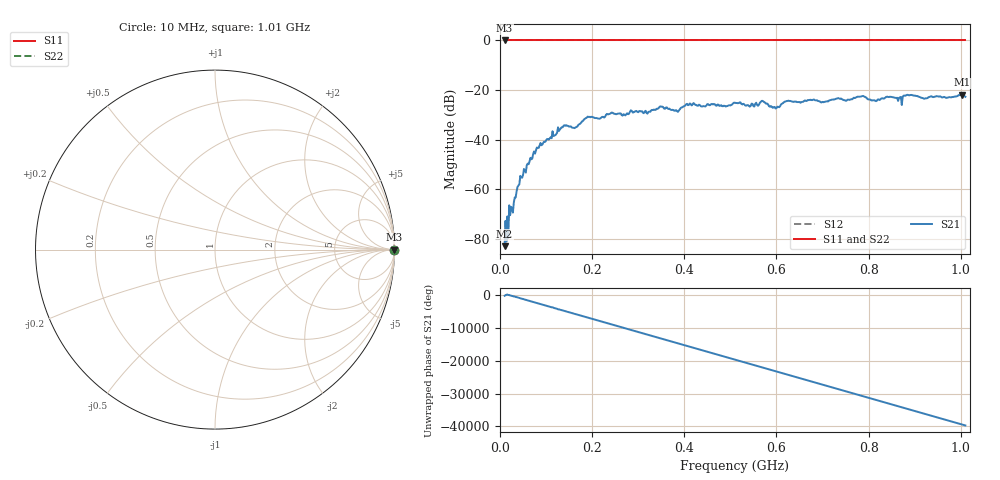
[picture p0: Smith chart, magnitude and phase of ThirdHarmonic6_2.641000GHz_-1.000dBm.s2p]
! 8/17/2025 5:58:09 AM
! C:\ANRITSUVNA\TEMP\TEMP.S2P
! CHANNEL.1
! TR.MEASUREMENT
! RAW.DATA
! RF.CORRECTION.OFF
! AVERAGING.OFF
! IF.BANDWIDTH: 5KHZ
! SWEEPTYPE:  FREQ.SWEEP(Linear)
! Reference Plane Port Info
! PORT:  PORT1  PORT2
! DISTANCE:  0  m  0  m
! TIME:  0  s  0  s
! PHASE.OFFSET:  0  deg.  0  deg.
! LOSS:  0  dB  0  dB
! REF.LOSS:  0  dB  0  dB
! REF.FREQ:  0  Hz  0  Hz
! Power Info
! POWER:  -20  dBm  -20  dBm
! EFF.POWER:  -20  dBm  -20  dBm
! SOURCE.ATTEN:  0  dB  0  dB
! TEST.ATTEN:  0  dB  0  dB
# GHZ S RI R 50.0
! FREQ.GHZ  S11RE  S11IM  S21RE  S21IM  S12RE  S12IM  S22RE  S22IM
!; PortSelection: Port_12
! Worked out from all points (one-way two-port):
!   501 points, 10 MHz to 1.01 GHz, reference 50 ohm
!   highest |S21| = -21.83 dB at 1.002 GHz (marker M1); lowest = -82.8 dB at 10 MHz (marker M2)
!   lowest |S11| = 0.0 dB at 10 MHz (marker M3)
!   |S11| at or under -10 dB: nowhere
!   |S22| runs from 0.0 to 0.0 dB; largest |S21 - S12| = 1.1
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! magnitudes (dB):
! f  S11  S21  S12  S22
! 10 MHz  0.0  -82.8  0.0  0.0
! 42 MHz  0.0  -57.9  0.0  0.0
! 76 MHz  0.0  -45.6  0.0  0.0
! 136 MHz  0.0  -34.9  0.0  0.0
! 162 MHz  0.0  -35.3  0.0  0.0
! 178 MHz  0.0  -32.6  0.0  0.0
! 194 MHz  0.0  -30.8  0.0  0.0
! 322 MHz  0.0  -28.8  0.0  0.0
! 344 MHz  0.0  -27.3  0.0  0.0
! 384 MHz  0.0  -28.4  0.0  0.0
! 408 MHz  0.0  -26.0  0.0  0.0
! 510 MHz  0.0  -25.1  0.0  0.0
! 540 MHz  0.0  -26.3  0.0  0.0
! 570 MHz  0.0  -24.3  0.0  0.0
! 596 MHz  0.0  -26.8  0.0  0.0
! 622 MHz  0.0  -24.4  0.0  0.0
! 678 MHz  0.0  -24.0  0.0  0.0
! 786 MHz  0.0  -22.4  0.0  0.0
! 814 MHz  0.0  -24.2  0.0  0.0
! 844 MHz  0.0  -22.8  0.0  0.0
! 1.002 GHz  0.0  -21.8  0.0  0.0
! 1.01 GHz  0.0  -22.7  0.0  0.0
